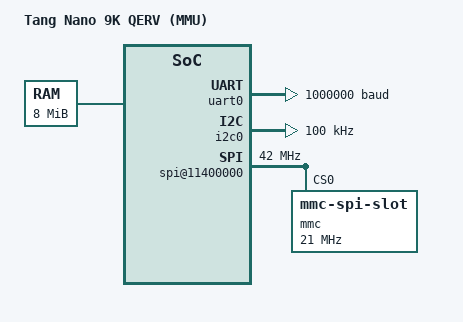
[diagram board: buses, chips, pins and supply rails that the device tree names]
// Tang Nano 9K QERV SoC, stage 2: S-mode kernel with SV32 under the boot ROM's SBI v0.1 shim
// (doc/stage2_plan.md). Same memory map as stage 1. The boot ROM loads this DTB at 0x807FF000
// and passes it in a1. The CLINT belongs to the firmware (the kernel's timer goes through SBI
// set_timer and reads the time CSR), so it is not described here.
/dts-v1/;

/ {
	#address-cells = <2>;
	#size-cells = <2>;
	compatible = "tang9k,qerv-soc";
	model = "Tang Nano 9K QERV (MMU)";

	chosen {
		bootargs = "earlycon=uart8250,mmio,0x10000000,1000000 console=ttyS0";
		stdout-path = &uart0;
		/* "QRNGSEED" marker + 56 bytes: the boot ROM fills it with what entropy the board
		   has (sw/bootrom/bootrom.S seed_dtb); Linux credits it and its crng is ready at once. */
		rng-seed = [51 52 4e 47 53 45 45 44 00 00 00 00 00 00 00 00
			    00 00 00 00 00 00 00 00 00 00 00 00 00 00 00 00
			    00 00 00 00 00 00 00 00 00 00 00 00 00 00 00 00
			    00 00 00 00 00 00 00 00 00 00 00 00 00 00 00 00];
	};

	memory@80000000 {
		device_type = "memory";
		reg = <0x0 0x80000000 0x0 0x800000>;	/* 8 MB PSRAM */
	};

	reserved-memory {
		#address-cells = <2>;
		#size-cells = <2>;
		ranges;

		/* M-mode firmware stack/scratch (boot ROM SBI shim). Mapped, not used by Linux, so
		   the linear map keeps its 4 MB megapages. */
		sbi@807fe000 {
			reg = <0x0 0x807fe000 0x0 0x1000>;
		};

		/* HDMI framebuffer, 640 x 480 RGB565 (doc/video_plan.md). The video DMA reads it
		   straight from PSRAM, so Linux must only reach it through the uncached alias
		   (simple-framebuffer below); reserved here so nothing uses the cached address.
		   Mapped, like the SBI page, to keep the linear map's megapages. */
		framebuffer@80700000 {
			reg = <0x0 0x80700000 0x0 0x96000>;
		};
	};

	cpus {
		#address-cells = <1>;
		#size-cells = <0>;
		timebase-frequency = <1000000>;		/* CLINT mtime / time CSR at 1 MHz */

		cpu0: cpu@0 {
			device_type = "cpu";
			reg = <0>;
			status = "okay";
			compatible = "riscv";
			riscv,isa = "rv32ima";
			riscv,isa-base = "rv32i";
			riscv,isa-extensions = "i", "m", "a", "zicsr", "zifencei";
			mmu-type = "riscv,sv32";

			cpu0_intc: interrupt-controller {
				#interrupt-cells = <1>;
				interrupt-controller;
				compatible = "riscv,cpu-intc";
			};
		};
	};

	soc {
		#address-cells = <2>;
		#size-cells = <2>;
		compatible = "simple-bus";
		ranges;

		/* 16550 register subset, fixed baud (divisor latch ignored), 256-byte FIFOs, its
		   interrupt on PLIC source 1. */
		uart0: serial@10000000 {
			compatible = "ns16550a";
			reg = <0x0 0x10000000 0x0 0x100>;
			clock-frequency = <16000000>;
			current-speed = <1000000>;
			fifo-size = <256>;
			interrupts-extended = <&plic 1>;
			no-loopback-test;
		};

		/* Minimal PLIC (rtl/soc/plic.v): one source, one context = the hart's S-mode
		   external interrupt. */
		plic: interrupt-controller@12000000 {
			compatible = "sifive,plic-1.0.0";
			reg = <0x0 0x12000000 0x0 0x400000>;
			#address-cells = <0>;
			#interrupt-cells = <1>;
			interrupt-controller;
			interrupts-extended = <&cpu0_intc 9>;
			riscv,ndev = <2>;
		};

		/* Set up by the boot ROM (splash or cleared, scanout on) before it enters the kernel.
		   qervfb (patches/linux/0003): the framebuffer, and the video YOFF register
		   (SYSCON word 11) for Y-wrap panning. */
		framebuffer@90700000 {
			compatible = "qerv,tang9k-fb";
			reg = <0x0 0x90700000 0x0 0x96000>,	/* uncached alias of 0x80700000 */
			      <0x0 0x1110002c 0x0 0x4>;	/* YOFF */
			width = <640>;
			height = <480>;
			stride = <1280>;
		};

		/* qervcon (patches/linux/0004): the hardware text console. The text buffer
		   (80 x 30 cells, write-only) and the video registers CTRL..CURSOR (SYSCON words
		   8..13), which overlap the syscon node: the driver maps them without a request. */
		textcon@11800000 {
			compatible = "qerv,tang9k-text";
			reg = <0x0 0x11800000 0x0 0x1800>,
			      <0x0 0x11100020 0x0 0x18>;
		};

		/* OpenCores I2C master (rtl/i2c) on pins 25 (SDA) / 26 (SCL): 8-bit registers at
		   word offsets, interrupt = PLIC source 2. */
		i2c0: i2c@11300000 {
			compatible = "opencores,i2c-ocores";
			reg = <0x0 0x11300000 0x0 0x20>;
			reg-shift = <2>;
			reg-io-width = <4>;
			opencores,ip-clock-frequency = <42000000>;
			clock-frequency = <100000>;
			interrupts-extended = <&plic 2>;
			#address-cells = <1>;
			#size-cells = <0>;
		};

		/* SPI master on the microSD slot (rtl/soc/spi_master.v, spi-qerv in
		   patches/linux/0005), the card in SPI mode through mmc_spi. SCK is 42 MHz / 2 at
		   most; the slot has no card-detect line, so mmc_spi polls. */
		spi@11400000 {
			compatible = "qerv,tang9k-spi";
			reg = <0x0 0x11400000 0x0 0x20>;
			clock-frequency = <42000000>;
			#address-cells = <1>;
			#size-cells = <0>;

			mmc@0 {
				compatible = "mmc-spi-slot";
				reg = <0>;
				spi-max-frequency = <21000000>;
				voltage-ranges = <3300 3300>;
			};
		};

		syscon: syscon@11100000 {
			compatible = "syscon";
			reg = <0x0 0x11100000 0x0 0x1000>;
		};

		poweroff {
			compatible = "syscon-poweroff";
			regmap = <&syscon>;
			offset = <0x0>;
			value = <0x5555>;
		};

		reboot {
			compatible = "syscon-reboot";
			regmap = <&syscon>;
			offset = <0x0>;
			value = <0x7777>;
		};
	};
};
